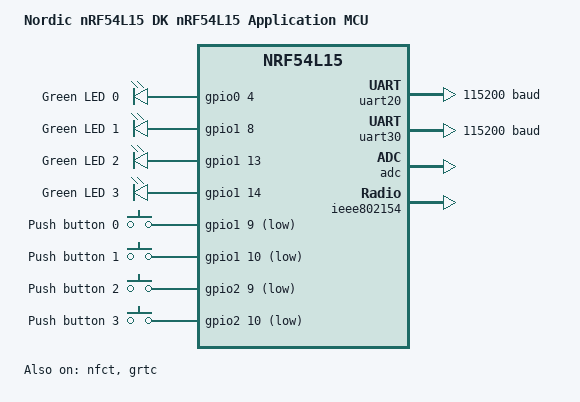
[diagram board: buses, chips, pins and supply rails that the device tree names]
/*
 * Copyright (c) 2023 Nordic Semiconductor ASA
 *
 * SPDX-License-Identifier: Apache-2.0
 */
#include "nrf54l15dk_nrf54l15_common-pinctrl.dtsi"

/ {
	model = "Nordic nRF54L15 DK nRF54L15 Application MCU";
	compatible = "nordic,nrf54l15dk_nrf54l15-cpuapp";

	chosen {
		zephyr,console = &uart20;
		zephyr,shell-uart = &uart20;
		zephyr,ieee802154 = &ieee802154;
	};

	leds {
		compatible = "gpio-leds";
		led0: led_0 {
			gpios = <&gpio0 4 GPIO_ACTIVE_HIGH>;
			label = "Green LED 0";
		};
		led1: led_1 {
			gpios = <&gpio1 8 GPIO_ACTIVE_HIGH>;
			label = "Green LED 1";
		};
		led2: led_2 {
			gpios = <&gpio1 13 GPIO_ACTIVE_HIGH>;
			label = "Green LED 2";
		};
		led3: led_3 {
			gpios = <&gpio1 14 GPIO_ACTIVE_HIGH>;
			label = "Green LED 3";
		};
	};

	buttons {
		compatible = "gpio-keys";
		button0: button_0 {
			gpios = <&gpio1 9 (GPIO_PULL_UP | GPIO_ACTIVE_LOW)>;
			label = "Push button 0";
		};
		button1: button_1 {
			gpios = <&gpio1 10 (GPIO_PULL_UP | GPIO_ACTIVE_LOW)>;
			label = "Push button 1";
		};
		button2: button_2 {
			gpios = <&gpio2 9 (GPIO_PULL_UP | GPIO_ACTIVE_LOW)>;
			label = "Push button 2";
		};
		button3: button_3 {
			gpios = <&gpio2 10 (GPIO_PULL_UP | GPIO_ACTIVE_LOW)>;
			label = "Push button 3";
		};
	};

	aliases {
		led0 = &led0;
		led1 = &led1;
		led2 = &led2;
		led3 = &led3;
		sw0 = &button0;
		sw1 = &button1;
		sw2 = &button2;
		sw3 = &button3;
		watchdog0 = &wdt30;
	};

};

&uart20 {
	status = "okay";
	current-speed = <115200>;
	pinctrl-0 = <&uart20_default>;
	pinctrl-1 = <&uart20_sleep>;
	pinctrl-names = "default", "sleep";
};

&uart30 {
	current-speed = <115200>;
	pinctrl-0 = <&uart30_default>;
	pinctrl-1 = <&uart30_sleep>;
	pinctrl-names = "default", "sleep";
};

&gpio0 {
	status = "okay";
};

&gpio1 {
	status = "okay";
};

&gpio2 {
	status = "okay";
};

&gpiote20 {
	status = "okay";
};

&gpiote30 {
	status = "okay";
};

&adc {
	status = "okay";
};

&nfct {
	status = "okay";
};

&ieee802154 {
	status = "okay";
};

&grtc {
	owned-channels = <0 1 2 3 4 5 6 7 8 9 10 11>;
	child-owned-channels = <7 8 9 10 11>; /* reserved channels for MPSL */
	interrupts = <228 NRF_DEFAULT_IRQ_PRIORITY
	              229 NRF_DEFAULT_IRQ_PRIORITY >; /* MPSL uses the GRTC_3_IRQn */
	status = "okay";
};

/* Disable by default to use GRTC */
&systick {
	status = "disabled";
};

&rram0 {
	partitions {
		compatible = "fixed-partitions";
		#address-cells = <1>;
		#size-cells = <1>;

		/* TODO: NCSDK-24862: This is the same layout as 91. Update the addresses
		* to reflect the increased memory available on 54l. */

		boot_partition: partition@0 {
			label = "mcuboot";
			reg = <0x00000000 0x10000>;
		};
		slot0_partition: partition@0 {
			label = "image-0";
		};
		slot0_ns_partition: partition@0 {
			label = "image-0-nonsecure";
		};
		slot1_partition: partition@0 {
			label = "image-1";
		};
		slot1_ns_partition: partition@0 {
			label = "image-1-nonsecure";
		};
	};
};

/ {

	reserved-memory {
		#address-cells = <1>;
		#size-cells = <1>;
		ranges;

		/* TODO: NCSDK-24862: This is the same layout as 91. Update the addresses
		* to reflect the increased memory available on 54l. */

		sram0_s: image_s@20000000 {
			/* Secure image memory */
		};
	};
};

/* Include partition configuration file */
#include "nrf54l15dk_nrf54l15_partition_conf.dts"
